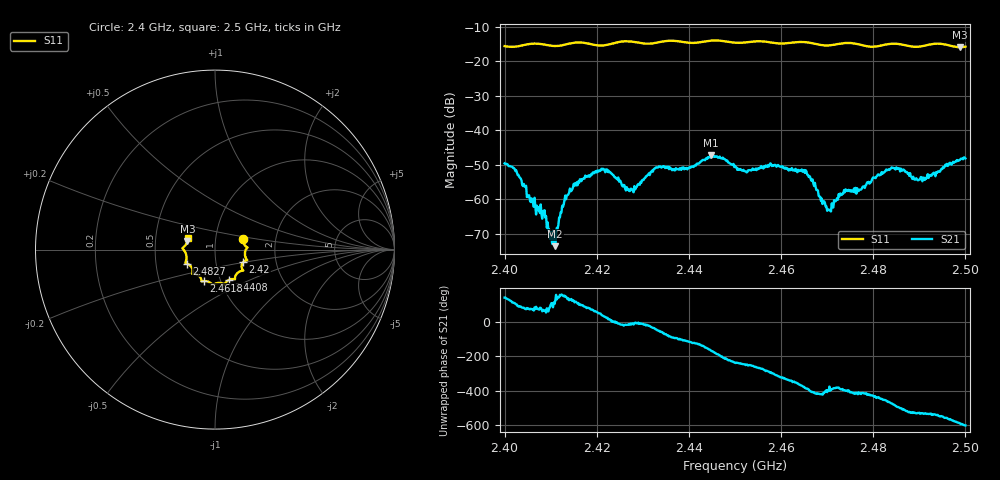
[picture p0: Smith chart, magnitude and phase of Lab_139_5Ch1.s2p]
# Hz S RI R 50
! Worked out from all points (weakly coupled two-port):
!   601 points, 2.4 GHz to 2.5 GHz, reference 50 ohm
!   highest |S21| = -47.26 dB at 2.4448 GHz (marker M1); lowest = -73.7 dB at 2.411 GHz (marker M2)
!   lowest |S11| = -15.9 dB at 2.4988 GHz (marker M3), VSWR 1.38, Z = 36.5 + j3.4 ohm
!   |S11| at or under -10 dB: start of sweep to end of sweep
!   S12 and S22 are empty: the file has one direction only
!   S11 on the Smith chart (normalised r, x): 2.4 GHz: 1.36, +0.17; 2.42 GHz: 1.36, -0.19; 2.4408 GHz: 1.10, -0.38; 2.4618 GHz: 0.83, -0.30; 2.4827 GHz: 0.72, -0.12; 2.5 GHz: 0.73, +0.09
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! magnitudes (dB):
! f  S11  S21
! 2.4 GHz  -15.5  -49.6
! 2.4025 GHz  -15.7  -51.6
! 2.4088 GHz  -15.2  -65.4
! 2.4098 GHz  -15.4  -71.6
! 2.411 GHz  -15.5  -73.7
! 2.4135 GHz  -15.0  -59.0
! 2.4167 GHz  -14.5  -54.8
! 2.42 GHz  -15.3  -52.2
! 2.4275 GHz  -14.2  -57.0
! 2.4333 GHz  -14.5  -50.8
! 2.4408 GHz  -14.6  -50.5
! 2.4448 GHz  -13.9  -47.3
! 2.45 GHz  -14.5  -50.3
! 2.4618 GHz  -14.6  -51.3
! 2.4667 GHz  -14.7  -54.7
! 2.4703 GHz  -15.3  -63.2
! 2.4738 GHz  -14.7  -58.0
! 2.4827 GHz  -15.1  -51.7
! 2.4833 GHz  -15.0  -51.3
! 2.4902 GHz  -15.7  -54.3
! 2.4988 GHz  -15.9  -48.6
! 2.5 GHz  -15.7  -48.2
